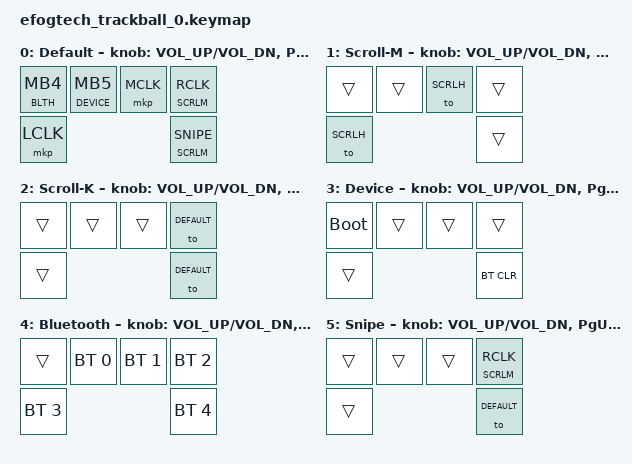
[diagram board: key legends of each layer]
#include <behaviors.dtsi>
#include <dt-bindings/zmk/bt.h>
#include <dt-bindings/zmk/keys.h>
#include <dt-bindings/zmk/pointing.h>
#include <dt-bindings/zmk/outputs.h>

#define DEFAULT 0
#define SCRLM 1
#define SCRLH 2
#define DEVICE 3
#define BLTH 4
#define SNIPE 5

/ {
  combos {
    compatible = "zmk,combos";
    combo_esc {
      timeout-ms = <50>;
      key-positions = <2 3>;
      bindings = <&mkp RCLK>;
    };
  };
  behaviors {
    ltm: layer-tap-momentary {
      compatible = "zmk,behavior-hold-tap";
      #binding-cells = <2>;
      flavor = "tap-preferred";
      tapping-term-ms = <200>;
      bindings = <&mo>, <&mkp>;
    };
    lth: layer-tap-hold-while-undecided {
      compatible = "zmk,behavior-hold-tap";
      #binding-cells = <2>;
      flavor = "hold-preferred";
      hold-while-undecided;
      tapping-term-ms = <150>;
      bindings = <&mo>, <&mkp>;
    };
    mto: momentary-or-toggle {
      compatible = "zmk,behavior-hold-tap";
      #binding-cells = <2>;
      flavor = "hold-preferred";
      hold-while-undecided;
      tapping-term-ms = <200>;
      bindings = <&mo>, <&to>;
    };
  };
  keymap {
    compatible = "zmk,keymap";
    default_layer {
      display-name = "Default";
      sensor-bindings = <&inc_dec_kp C_VOL_UP C_VOL_DN &inc_dec_kp PG_UP PG_DN>;
      bindings = <
        &ltm BLTH MB4 &ltm DEVICE MB5 &mkp MCLK &lth SCRLM RCLK
        &mkp LCLK                               &mto SCRLM SNIPE
      >;
    };
    scroll_tap_layer {
      display-name = "Scroll-M";
      sensor-bindings = <&inc_dec_kp C_VOL_UP C_VOL_DN &inc_dec_kp PG_UP PG_DN>;
      bindings = <
        &trans &trans &to SCRLH &trans
        &to SCRLH               &trans
      >;
    };
    scroll_hold_layer {
      display-name = "Scroll-K";
      sensor-bindings = <&inc_dec_kp C_VOL_UP C_VOL_DN &inc_dec_kp PG_UP PG_DN>;
      bindings = <
        &trans &trans &trans &to DEFAULT
        &trans               &to DEFAULT
      >;
    };
    device_layer {
      display-name = "Device";
      sensor-bindings = <&inc_dec_kp C_VOL_UP C_VOL_DN &inc_dec_kp PG_UP PG_DN>;
      bindings = <
        &bootloader &trans &trans &trans
        &trans                    &bt BT_CLR
      >;
    };
    bluetooth_layer {
      display-name = "Bluetooth";
      sensor-bindings = <&inc_dec_kp C_VOL_UP C_VOL_DN &inc_dec_kp PG_UP PG_DN>;
      bindings = <
        &trans &bt BT_SEL 0 &bt BT_SEL 1 &bt BT_SEL 2
        &bt BT_SEL 3                     &bt BT_SEL 4
      >;
    };
    snipe_layer {
      display-name = "Snipe";
      sensor-bindings = <&inc_dec_kp C_VOL_UP C_VOL_DN &inc_dec_kp PG_UP PG_DN>;
      bindings = <
        &trans &trans &trans &lth SCRLM RCLK
        &trans               &to DEFAULT
      >;
    };
  };
};
